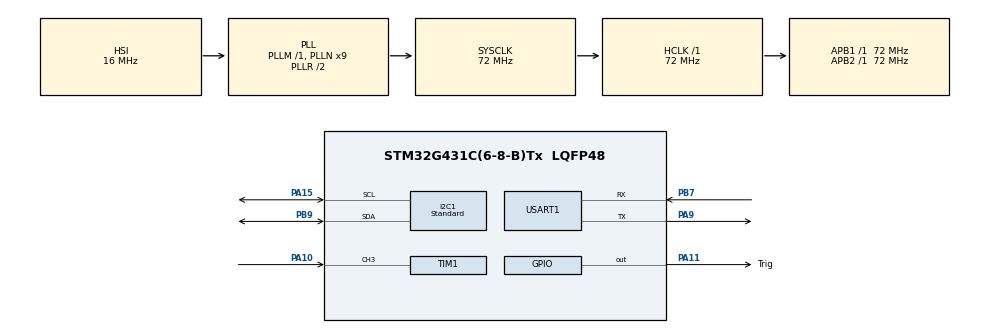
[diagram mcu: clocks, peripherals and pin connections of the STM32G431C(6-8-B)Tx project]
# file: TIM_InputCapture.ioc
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I2C1.I2C_Speed_Mode=I2C_Standard
I2C1.Timing=0x10C18DCC
Mcu.Family=STM32G4
Mcu.Name=STM32G431C(6-8-B)Tx
Mcu.Package=LQFP48
NVIC.PriorityGroup=NVIC_PRIORITYGROUP_4
NVIC.TIM1_CC_IRQn=true\:0\:0\:false\:false\:true\:true\:true\:true
PA10.Signal=S_TIM1_CH3
PA11.GPIO_Label=Trig
PA11.Signal=GPIO_Output
PA13.Mode=Serial_Wire
PA13.Signal=SYS_JTMS-SWDIO
PA14.Mode=Serial_Wire
PA14.Signal=SYS_JTCK-SWCLK
PA15.Mode=I2C
PA15.Signal=I2C1_SCL
PA9.Mode=Asynchronous
PA9.Signal=USART1_TX
PB7.Mode=Asynchronous
PB7.Signal=USART1_RX
PB9.Mode=I2C
PB9.Signal=I2C1_SDA
PF0-OSC_IN.Mode=HSE-External-Oscillator
PF0-OSC_IN.Signal=RCC_OSC_IN
PF1-OSC_OUT.Mode=HSE-External-Oscillator
PF1-OSC_OUT.Signal=RCC_OSC_OUT
ProjectManager.HeapSize=0x200
ProjectManager.StackSize=0x400
ProjectManager.TargetToolchain=CMake
RCC.ADC12Freq_Value=72000000
RCC.AHBFreq_Value=72000000
RCC.APB1Freq_Value=72000000
RCC.APB1TimFreq_Value=72000000
RCC.APB2Freq_Value=72000000
RCC.APB2TimFreq_Value=72000000
RCC.CortexFreq_Value=72000000
RCC.EXTERNAL_CLOCK_VALUE=12288000
RCC.HCLKFreq_Value=72000000
RCC.HSE_VALUE=8000000
RCC.HSI48_VALUE=48000000
RCC.HSI_VALUE=16000000
RCC.LSE_VALUE=32768
RCC.PLLN=9
RCC.SYSCLKFreq_VALUE=72000000
RCC.SYSCLKSource=RCC_SYSCLKSOURCE_PLLCLK
RCC.USBFreq_Value=72000000
RCC.VCOOutputFreq_Value=144000000
SH.S_TIM1_CH3.0=TIM1_CH3,Input_Capture3_from_TI3
TIM1.Channel-Input_Capture3_from_TI3=TIM_CHANNEL_3
TIM1.Channel-Input_Capture4_from_TI3_63=TIM_CHANNEL_4
TIM1.ICPolarity_CH4=TIM_INPUTCHANNELPOLARITY_FALLING
TIM1.Prescaler=72-1
USART1.VirtualMode-Asynchronous=VM_ASYNC
VP_SYS_VS_DBSignals.Mode=DisableDeadBatterySignals
VP_TIM1_VS_ClockSourceINT.Mode=Internal
VP_TIM1_VS_indirect_ch3.Mode=Input_Capture4_from_TI3_63
board=custom

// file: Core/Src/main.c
/* USER CODE BEGIN Header */
/**
  ******************************************************************************
  * @file           : main.c
  * @brief          : Main program body
  ******************************************************************************
  * @attention
  *
  * Copyright (c) 2026 STMicroelectronics.
  * All rights reserved.
  *
  * This software is licensed under terms that can be found in the LICENSE file
  * in the root directory of this software component.
  * If no LICENSE file comes with this software, it is provided AS-IS.
  *
  ******************************************************************************
  */
/* USER CODE END Header */
#include "main.h"
#include "i2c.h"
#include "tim.h"
#include "usart.h"
#include "gpio.h"

/* USER CODE BEGIN Includes */
#include "oled.h"
#include "stdio.h"
#include "string.h"
#include <math.h>
/* USER CODE END Includes */

/* USER CODE BEGIN PTD */
// 卡尔曼滤波器结构体
typedef struct {
    float x;        // 状态估计值
    float P;        // 估计误差协方差
    float Q;        // 过程噪声协方差
    float R;        // 测量噪声协方差
    float K;        // 卡尔曼增益
    float F;        // 状态转移矩阵（简化为一维）
    float H;        // 观测矩阵（简化为一维）
} KalmanFilter;
/* USER CODE END PTD */

/* USER CODE BEGIN PD */
#define USE_JUSTFLOAT 1  // 1:使用JustFloat协议，0:使用文本格式
#define CHANNEL_COUNT 2  // 发送2个通道的数据（原始值和滤波值）
/* USER CODE END PD */

/* USER CODE BEGIN PV */
int upEdge = 0;
int downEdge = 0;
float raw_distance = 0;        // 原始测量距离
float filtered_distance = 0;    // 滤波后距离

// VOFA+ 数据缓冲区
uint8_t vofa_buffer[sizeof(float) * CHANNEL_COUNT + 4];  // 数据 + 帧尾

// 卡尔曼滤波器实例
KalmanFilter kf;

// 帧尾定义（JustFloat协议要求）
const uint8_t justfloat_tail[4] = {0x00, 0x00, 0x80, 0x7F};
/* USER CODE END PV */

void SystemClock_Config(void);
/* USER CODE BEGIN PFP */
// 卡尔曼滤波函数声明
void Kalman_Init(KalmanFilter *kf, float init_value, float Q, float R);
float Kalman_Update(KalmanFilter *kf, float measurement);
void Send_RawData_To_VOFA(float raw);
void Send_FilteredData_To_VOFA(float filtered);
void Send_BothData_To_VOFA(float raw, float filtered);
/* USER CODE END PFP */

/* USER CODE BEGIN 0 */
void HAL_TIM_IC_CaptureCallback(TIM_HandleTypeDef *htim) {
    if (htim == &htim1 && htim->Channel == HAL_TIM_ACTIVE_CHANNEL_4) {
        upEdge = HAL_TIM_ReadCapturedValue(&htim1, TIM_CHANNEL_3);
        downEdge = HAL_TIM_ReadCapturedValue(&htim1, TIM_CHANNEL_4);

        // 计算原始距离
        if (downEdge > upEdge) {
            raw_distance = ((downEdge - upEdge) * 0.034f) / 2.0f;

            // 距离限制（超声波有效范围通常为2cm-400cm）
            if (raw_distance < 2.0f) raw_distance = 2.0f;
            if (raw_distance > 400.0f) raw_distance = 400.0f;
        }
    }
}

// 卡尔曼滤波器初始化
void Kalman_Init(KalmanFilter *kf, float init_value, float Q, float R) {
    kf->x = init_value;        // 初始状态估计
    kf->P = 1.0f;              // 初始估计误差协方差
    kf->Q = Q;                 // 过程噪声协方差
    kf->R = R;                 // 测量噪声协方差
    kf->F = 1.0f;              // 状态转移矩阵（一维）
    kf->H = 1.0f;              // 观测矩阵（一维）
}

// 卡尔曼滤波器更新
float Kalman_Update(KalmanFilter *kf, float measurement) {
    // 预测步骤
    kf->x = kf->F * kf->x;           // 状态预测
    kf->P = kf->F * kf->P * kf->F + kf->Q;  // 协方差预测

    // 更新步骤
    kf->K = kf->P * kf->H / (kf->H * kf->P * kf->H + kf->R);  // 计算卡尔曼增益
    kf->x = kf->x + kf->K * (measurement - kf->H * kf->x);    // 状态更新
    kf->P = (1 - kf->K * kf->H) * kf->P;                      // 协方差更新

    return kf->x;
}

// 发送原始数据到VOFA+（文本格式）
void Send_RawData_To_VOFA(float raw) {
    char buffer[20];
    int len = sprintf(buffer, "Raw:%.2f\n", raw);
    HAL_UART_Transmit(&huart1, (uint8_t*)buffer, len, 100);
}

// 发送滤波数据到VOFA+（文本格式）
void Send_FilteredData_To_VOFA(float filtered) {
    char buffer[20];
    int len = sprintf(buffer, "Filt:%.2f\n", filtered);
    HAL_UART_Transmit(&huart1, (uint8_t*)buffer, len, 100);
}

// 发送双通道数据到VOFA+（JustFloat协议）
void Send_BothData_To_VOFA(float raw, float filtered) {
#if USE_JUSTFLOAT
    // 准备浮点数组
    float data[CHANNEL_COUNT];
    data[0] = raw;
    data[1] = filtered;

    // 复制数据到缓冲区（小端字节序）
    // STM32通常是小端，直接复制即可
    memcpy(vofa_buffer, data, sizeof(float) * CHANNEL_COUNT);

    // 添加帧尾
    memcpy(vofa_buffer + sizeof(float) * CHANNEL_COUNT, justfloat_tail, 4);

    // 发送完整数据包
    HAL_UART_Transmit(&huart1, vofa_buffer, sizeof(float) * CHANNEL_COUNT + 4, 100);
#else
    // 文本格式：发送"原始值,滤波值\n"
    char buffer[30];
    int len = sprintf(buffer, "%.2f,%.2f\n", raw, filtered);
    HAL_UART_Transmit(&huart1, (uint8_t*)buffer, len, 100);
#endif
}

// 调试函数：发送测试数据到VOFA+
void Send_TestData_To_VOFA(void) {
    static float t = 0;
    t += 0.1f;

    float test_data[4];
    test_data[0] = sinf(t);
    test_data[1] = sinf(2*t);
    test_data[2] = sinf(3*t);
    test_data[3] = sinf(4*t);

    // 发送数据部分
    HAL_UART_Transmit(&huart1, (uint8_t*)test_data, sizeof(float) * 4, 100);

    // 发送帧尾
    HAL_UART_Transmit(&huart1, justfloat_tail, 4, 100);
}
/* USER CODE END 0 */

int main(void)
{

    /* MCU Configuration--------------------------------------------------------*/

    /* Reset of all peripherals, Initializes the Flash interface and the Systick. */
    HAL_Init();

    /* Configure the system clock */
    SystemClock_Config();

    /* Initialize all configured peripherals */
    MX_GPIO_Init();
    MX_I2C1_Init();
    MX_TIM1_Init();
    MX_USART1_UART_Init();
    /* USER CODE BEGIN 2 */
    HAL_Delay(500);
    OLED_Init();

    // 初始化卡尔曼滤波器
    // 参数调整建议：
    // Q: 过程噪声协方差，值越小越相信模型（建议0.001-0.1）
    // R: 测量噪声协方差，值越小越相信测量（建议0.1-1.0）
    Kalman_Init(&kf, 10.0f, 0.1f, 1.0f);

    // 启动定时器和输入捕获
    HAL_TIM_Base_Start_IT(&htim1);
    HAL_TIM_IC_Start(&htim1, TIM_CHANNEL_3);
    HAL_TIM_IC_Start_IT(&htim1, TIM_CHANNEL_4);

    char message[20] = "";

    // 发送测试数据（可选，用于检查VOFA+连接）
    // Send_TestData_To_VOFA();
    // HAL_Delay(1000);

    /* USER CODE END 2 */

    /* Infinite loop */
    /* USER CODE BEGIN WHILE */
    while (1)
    {
        // 发送触发脉冲
        HAL_GPIO_WritePin(Trig_GPIO_Port, Trig_Pin, GPIO_PIN_SET);
        HAL_Delay(1);  // 10us脉冲，根据HC-SR04要求
        HAL_GPIO_WritePin(Trig_GPIO_Port, Trig_Pin, GPIO_PIN_RESET);
        __HAL_TIM_SET_COUNTER(&htim1, 0);

        // 等待测量完成
        HAL_Delay(60);  // HC-SR04测量周期至少60ms，这里用20ms

        // 卡尔曼滤波
        filtered_distance = Kalman_Update(&kf, raw_distance);

        // OLED显示
        OLED_NewFrame();
        sprintf(message, "Raw:%.1fcm", raw_distance);
        OLED_PrintString(0, 0, message, &font16x16, OLED_COLOR_NORMAL);

        sprintf(message, "Filt:%.1fcm", filtered_distance);
        OLED_PrintString(0, 16, message, &font16x16, OLED_COLOR_NORMAL);

        OLED_ShowFrame();

        // 发送数据到VOFA+
        Send_BothData_To_VOFA(raw_distance, filtered_distance);

        // 控制发送频率
        // 注意：不要在主循环中添加额外的延迟，因为测量已经需要20ms延迟
        // 现在的总周期约为20ms（50Hz），适合VOFA+显示

        /* USER CODE END WHILE */

    }
}

void SystemClock_Config(void)
{
    RCC_OscInitTypeDef RCC_OscInitStruct = {0};
    RCC_ClkInitTypeDef RCC_ClkInitStruct = {0};

    /** Configure the main internal regulator output voltage
    */
    HAL_PWREx_ControlVoltageScaling(PWR_REGULATOR_VOLTAGE_SCALE1);

    /** Initializes the RCC Oscillators according to the specified parameters
    * in the RCC_OscInitTypeDef structure.
    */
    RCC_OscInitStruct.OscillatorType = RCC_OSCILLATORTYPE_HSI;
    RCC_OscInitStruct.HSIState = RCC_HSI_ON;
    RCC_OscInitStruct.HSICalibrationValue = RCC_HSICALIBRATION_DEFAULT;
    RCC_OscInitStruct.PLL.PLLState = RCC_PLL_ON;
    RCC_OscInitStruct.PLL.PLLSource = RCC_PLLSOURCE_HSI;
    RCC_OscInitStruct.PLL.PLLM = RCC_PLLM_DIV1;
    RCC_OscInitStruct.PLL.PLLN = 9;
    RCC_OscInitStruct.PLL.PLLP = RCC_PLLP_DIV2;
    RCC_OscInitStruct.PLL.PLLQ = RCC_PLLQ_DIV2;
    RCC_OscInitStruct.PLL.PLLR = RCC_PLLR_DIV2;
    if (HAL_RCC_OscConfig(&RCC_OscInitStruct) != HAL_OK)
    {
        Error_Handler();
    }

    /** Initializes the CPU, AHB and APB buses clocks
    */
    RCC_ClkInitStruct.ClockType = RCC_CLOCKTYPE_HCLK|RCC_CLOCKTYPE_SYSCLK
                                  |RCC_CLOCKTYPE_PCLK1|RCC_CLOCKTYPE_PCLK2;
    RCC_ClkInitStruct.SYSCLKSource = RCC_SYSCLKSOURCE_PLLCLK;
    RCC_ClkInitStruct.AHBCLKDivider = RCC_SYSCLK_DIV1;
    RCC_ClkInitStruct.APB1CLKDivider = RCC_HCLK_DIV1;
    RCC_ClkInitStruct.APB2CLKDivider = RCC_HCLK_DIV1;

    if (HAL_RCC_ClockConfig(&RCC_ClkInitStruct, FLASH_LATENCY_2) != HAL_OK)
    {
        Error_Handler();
    }
}

void Error_Handler(void)
{
    __disable_irq();
    while (1)
    {
    }
}
